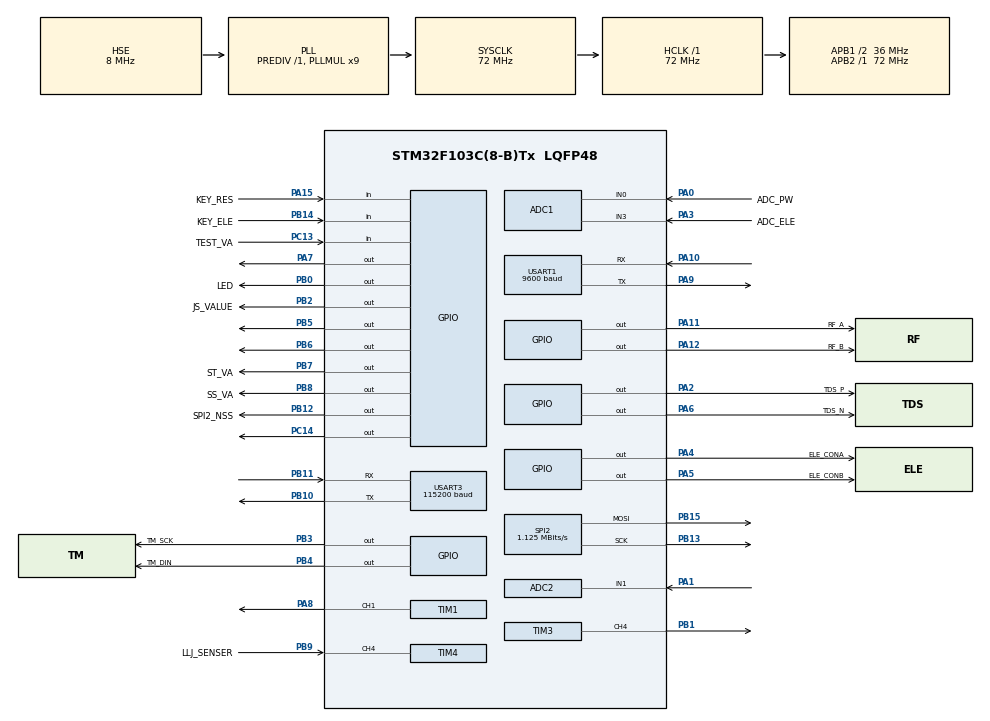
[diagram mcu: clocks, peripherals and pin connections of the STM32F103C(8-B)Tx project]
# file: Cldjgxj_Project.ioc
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ADC1.Channel-0\#ChannelRegularConversion=ADC_CHANNEL_0
ADC1.Channel-1\#ChannelRegularConversion=ADC_CHANNEL_2
ADC1.Channel-2\#ChannelRegularConversion=ADC_CHANNEL_3
ADC1.ContinuousConvMode=ENABLE
ADC1.InjNumberOfConversion=0
ADC1.NbrOfConversion=3
ADC1.NbrOfConversionFlag=1
ADC1.Rank-0\#ChannelRegularConversion=1
ADC1.Rank-1\#ChannelRegularConversion=2
ADC1.Rank-2\#ChannelRegularConversion=3
ADC1.SamplingTime-0\#ChannelRegularConversion=ADC_SAMPLETIME_1CYCLE_5
ADC1.SamplingTime-1\#ChannelRegularConversion=ADC_SAMPLETIME_1CYCLE_5
ADC1.SamplingTime-2\#ChannelRegularConversion=ADC_SAMPLETIME_1CYCLE_5
ADC1.master=1
ADC2.Channel-0\#ChannelRegularConversion=ADC_CHANNEL_1
ADC2.NbrOfConversionFlag=1
ADC2.Rank-0\#ChannelRegularConversion=1
ADC2.SamplingTime-0\#ChannelRegularConversion=ADC_SAMPLETIME_1CYCLE_5
Dma.ADC1.4.Direction=DMA_PERIPH_TO_MEMORY
Dma.ADC1.4.Instance=DMA1_Channel1
Dma.ADC1.4.MemDataAlignment=DMA_MDATAALIGN_HALFWORD
Dma.ADC1.4.MemInc=DMA_MINC_ENABLE
Dma.ADC1.4.Mode=DMA_CIRCULAR
Dma.ADC1.4.PeriphDataAlignment=DMA_PDATAALIGN_HALFWORD
Dma.ADC1.4.PeriphInc=DMA_PINC_DISABLE
Dma.ADC1.4.Priority=DMA_PRIORITY_HIGH
Dma.Request0=USART1_RX
Dma.Request1=USART1_TX
Dma.Request2=USART3_RX
Dma.Request3=USART3_TX
Dma.Request4=ADC1
Dma.USART1_RX.0.Direction=DMA_PERIPH_TO_MEMORY
Dma.USART1_RX.0.Instance=DMA1_Channel5
Dma.USART1_RX.0.MemDataAlignment=DMA_MDATAALIGN_BYTE
Dma.USART1_RX.0.MemInc=DMA_MINC_ENABLE
Dma.USART1_RX.0.Mode=DMA_CIRCULAR
Dma.USART1_RX.0.PeriphDataAlignment=DMA_PDATAALIGN_BYTE
Dma.USART1_RX.0.PeriphInc=DMA_PINC_DISABLE
Dma.USART1_RX.0.Priority=DMA_PRIORITY_HIGH
Dma.USART1_TX.1.Direction=DMA_MEMORY_TO_PERIPH
Dma.USART1_TX.1.Instance=DMA1_Channel4
Dma.USART1_TX.1.MemDataAlignment=DMA_MDATAALIGN_BYTE
Dma.USART1_TX.1.MemInc=DMA_MINC_ENABLE
Dma.USART1_TX.1.Mode=DMA_NORMAL
Dma.USART1_TX.1.PeriphDataAlignment=DMA_PDATAALIGN_BYTE
Dma.USART1_TX.1.PeriphInc=DMA_PINC_DISABLE
Dma.USART1_TX.1.Priority=DMA_PRIORITY_HIGH
Dma.USART3_RX.2.Direction=DMA_PERIPH_TO_MEMORY
Dma.USART3_RX.2.Instance=DMA1_Channel3
Dma.USART3_RX.2.MemDataAlignment=DMA_MDATAALIGN_BYTE
Dma.USART3_RX.2.MemInc=DMA_MINC_ENABLE
Dma.USART3_RX.2.Mode=DMA_NORMAL
Dma.USART3_RX.2.PeriphDataAlignment=DMA_PDATAALIGN_BYTE
Dma.USART3_RX.2.PeriphInc=DMA_PINC_DISABLE
Dma.USART3_RX.2.Priority=DMA_PRIORITY_LOW
Dma.USART3_TX.3.Direction=DMA_MEMORY_TO_PERIPH
Dma.USART3_TX.3.Instance=DMA1_Channel2
Dma.USART3_TX.3.MemDataAlignment=DMA_MDATAALIGN_BYTE
Dma.USART3_TX.3.MemInc=DMA_MINC_ENABLE
Dma.USART3_TX.3.Mode=DMA_NORMAL
Dma.USART3_TX.3.PeriphDataAlignment=DMA_PDATAALIGN_BYTE
Dma.USART3_TX.3.PeriphInc=DMA_PINC_DISABLE
Dma.USART3_TX.3.Priority=DMA_PRIORITY_LOW
Mcu.Family=STM32F1
Mcu.Name=STM32F103C(8-B)Tx
Mcu.Package=LQFP48
NVIC.ADC1_2_IRQn=true\:0\:0\:false\:false\:true\:true\:true
NVIC.DMA1_Channel1_IRQn=true\:0\:0\:false\:false\:true\:false\:true
NVIC.DMA1_Channel2_IRQn=true\:0\:0\:false\:false\:true\:false\:true
NVIC.DMA1_Channel3_IRQn=true\:0\:0\:false\:false\:true\:false\:true
NVIC.DMA1_Channel4_IRQn=true\:0\:0\:false\:false\:true\:false\:true
NVIC.DMA1_Channel5_IRQn=true\:0\:0\:false\:false\:true\:false\:true
NVIC.PriorityGroup=NVIC_PRIORITYGROUP_4
NVIC.TIM4_IRQn=true\:0\:0\:false\:false\:true\:true\:true
NVIC.USART1_IRQn=true\:0\:0\:false\:false\:true\:true\:true
NVIC.USART3_IRQn=true\:0\:0\:false\:false\:true\:true\:true
PA0-WKUP.GPIO_Label=ADC_PW
PA0-WKUP.Signal=ADCx_IN0
PA1.Signal=ADCx_IN1
PA10.Mode=Asynchronous
PA10.Signal=USART1_RX
PA11.GPIO_Label=RF_A
PA11.GPIO_ModeDefaultOutputPP=GPIO_MODE_OUTPUT_OD
PA11.GPIO_Speed=GPIO_SPEED_FREQ_HIGH
PA11.Signal=GPIO_Output
PA12.GPIO_Label=RF_B
PA12.GPIO_ModeDefaultOutputPP=GPIO_MODE_OUTPUT_OD
PA12.GPIO_Speed=GPIO_SPEED_FREQ_HIGH
PA12.Signal=GPIO_Output
PA13.Mode=Serial_Wire
PA13.Signal=SYS_JTMS-SWDIO
PA14.Mode=Serial_Wire
PA14.Signal=SYS_JTCK-SWCLK
PA15.GPIO_Label=KEY_RES
PA15.GPIO_PuPd=GPIO_PULLUP
PA15.Signal=GPIO_Input
PA2.GPIO_Label=TDS_P
PA2.Signal=GPIO_Output
PA3.GPIO_Label=ADC_ELE
PA3.Signal=ADCx_IN3
PA4.GPIO_Label=ELE_CONA
PA4.Signal=GPIO_Output
PA5.GPIO_Label=ELE_CONB
PA5.Signal=GPIO_Output
PA6.GPIO_Label=TDS_N
PA6.Signal=GPIO_Output
PA7.Signal=GPIO_Output
PA8.Signal=S_TIM1_CH1
PA9.Mode=Asynchronous
PA9.Signal=USART1_TX
PB0.GPIO_Label=LED
PB0.Signal=GPIO_Output
PB1.Signal=S_TIM3_CH4
PB10.Mode=Asynchronous
PB10.Signal=USART3_TX
PB11.Mode=Asynchronous
PB11.Signal=USART3_RX
PB12.GPIO_Label=SPI2_NSS
PB12.PinState=GPIO_PIN_SET
PB12.Signal=SharedStack_PB12
PB12.Stacked=true
PB13.Mode=TX_Only_Simplex_Unidirect_Master
PB13.Signal=SPI2_SCK
PB14.GPIO_Label=KEY_ELE
PB14.Signal=GPIO_Input
PB15.Mode=TX_Only_Simplex_Unidirect_Master
PB15.Signal=SPI2_MOSI
PB2.GPIO_Label=JS_VALUE
PB2.GPIO_Speed=GPIO_SPEED_FREQ_MEDIUM
PB2.Signal=GPIO_Output
PB3.GPIO_Label=TM_SCK
PB3.Signal=GPIO_Output
PB4.GPIO_Label=TM_DIN
PB4.Signal=GPIO_Output
PB5.GPIO_Speed=GPIO_SPEED_FREQ_HIGH
PB5.Signal=GPIO_Output
PB6.GPIO_Speed=GPIO_SPEED_FREQ_HIGH
PB6.Signal=GPIO_Output
PB7.GPIO_Label=ST_VA
PB7.GPIO_PuPd=GPIO_NOPULL
PB7.GPIO_Speed=GPIO_SPEED_FREQ_MEDIUM
PB7.Signal=GPIO_Output
PB8.GPIO_Label=SS_VA
PB8.GPIO_Speed=GPIO_SPEED_FREQ_MEDIUM
PB8.Signal=GPIO_Output
PB9.GPIO_Label=LLJ_SENSER
PB9.GPIO_PuPd=GPIO_PULLUP
PB9.Signal=S_TIM4_CH4
PC13-TAMPER-RTC.GPIO_Label=TEST_VA
PC13-TAMPER-RTC.Signal=GPIO_Input
PC14-OSC32_IN.PinState=GPIO_PIN_RESET
PC14-OSC32_IN.Signal=GPIO_Output
PC15-OSC32_OUT.Signal=RCC_OSC32_OUT
PD0-OSC_IN.Mode=HSE-External-Oscillator
PD0-OSC_IN.Signal=RCC_OSC_IN
PD1-OSC_OUT.Mode=HSE-External-Oscillator
PD1-OSC_OUT.Signal=RCC_OSC_OUT
ProjectManager.HeapSize=0x200
ProjectManager.StackSize=0x400
ProjectManager.TargetToolchain=MDK-ARM V5
RCC.ADCPresc=RCC_ADCPCLK2_DIV6
RCC.AHBFreq_Value=72000000
RCC.APB1CLKDivider=RCC_HCLK_DIV2
RCC.APB1Freq_Value=36000000
RCC.APB1TimFreq_Value=72000000
RCC.APB2Freq_Value=72000000
RCC.APB2TimFreq_Value=72000000
RCC.EnbaleCSS=true
RCC.HCLKFreq_Value=72000000
RCC.PLLMUL=RCC_PLL_MUL9
RCC.PLLSourceVirtual=RCC_PLLSOURCE_HSE
RCC.SYSCLKFreq_VALUE=72000000
RCC.SYSCLKSource=RCC_SYSCLKSOURCE_PLLCLK
RCC.USBFreq_Value=72000000
SH.ADCx_IN0.0=ADC1_IN0,IN0
SH.ADCx_IN1.0=ADC2_IN1,IN1
SH.ADCx_IN3.0=ADC1_IN3,IN3
SH.S_TIM1_CH1.0=TIM1_CH1,PWM Generation1 CH1
SH.S_TIM3_CH4.0=TIM3_CH4,PWM Generation4 CH4
SH.S_TIM4_CH4.0=TIM4_CH4,Input_Capture4_from_TI4
SH.SharedStack_PB12.0=SPI2_NSS
SH.SharedStack_PB12.1=GPIO_Output
SPI2.BaudRatePrescaler=SPI_BAUDRATEPRESCALER_32
SPI2.CRCCalculation=SPI_CRCCALCULATION_DISABLE
SPI2.CalculateBaudRate=1.125 MBits/s
SPI2.Direction=SPI_DIRECTION_2LINES
SPI2.Mode=SPI_MODE_MASTER
SPI2.VirtualType=VM_MASTER
TIM1.AutoReloadPreload=TIM_AUTORELOAD_PRELOAD_ENABLE
TIM1.Channel-PWM\ Generation1\ CH1=TIM_CHANNEL_1
TIM1.OCPolarity_1=TIM_OCPOLARITY_HIGH
TIM1.Period=400-1
TIM1.Prescaler=72-1
TIM1.Pulse-PWM\ Generation1\ CH1=350
TIM3.Channel-PWM\ Generation4\ CH4=TIM_CHANNEL_4
TIM3.OCPolarity_4=TIM_OCPOLARITY_LOW
TIM3.Period=20
TIM3.Prescaler=719
TIM4.Channel-Input_Capture4_from_TI4=TIM_CHANNEL_4
TIM4.ICFilter_CH4=8
TIM4.ICPolarity_CH4=TIM_INPUTCHANNELPOLARITY_FALLING
TIM4.Period=0xFFFF
TIM4.Prescaler=719
USART1.BaudRate=9600
USART1.VirtualMode=VM_ASYNC
USART3.BaudRate=115200
USART3.VirtualMode=VM_ASYNC
VP_IWDG_VS_IWDG.Mode=IWDG_Activate
board=custom

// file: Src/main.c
/* USER CODE BEGIN Header */
/**
  ******************************************************************************
  * @file           : main.c
  * @brief          : Main program body
  ******************************************************************************
  * @attention
  *
  * <h2><center>&copy; Copyright (c) 2020 STMicroelectronics.
  * All rights reserved.</center></h2>
  *
  * This software component is licensed by ST under BSD 3-Clause license,
  * the "License"; You may not use this file except in compliance with the
  * License. You may obtain a copy of the License at:
  *                        opensource.org/licenses/BSD-3-Clause
  *
  ******************************************************************************
  */
/* USER CODE END Header */
#include "main.h"
#include "adc.h"
#include "dma.h"
#include "iwdg.h"
#include "spi.h"
#include "tim.h"
#include "usart.h"
#include "gpio.h"

/* USER CODE BEGIN Includes */
#include "bsp_led.h"
#include "system.h"
#include "filter.h"
#include "pid.h"
#include "feeprom.h"
/* USER CODE END Includes */

void SystemClock_Config(void);

int main(void)
{

  /* MCU Configuration--------------------------------------------------------*/

  /* Reset of all peripherals, Initializes the Flash interface and the Systick. */
  HAL_Init();

  /* Configure the system clock */
  SystemClock_Config();

  /* Initialize all configured peripherals */
  MX_GPIO_Init();
  MX_DMA_Init();
  MX_ADC1_Init();
  MX_SPI2_Init();
  MX_USART1_UART_Init();
  MX_USART3_UART_Init();
  MX_TIM4_Init();
  MX_ADC2_Init();
  MX_TIM3_Init();
  MX_TIM1_Init();
  MX_IWDG_Init();
  /* USER CODE BEGIN 2 */
	Refresh_LED_Display();
	HAL_TIM_IC_Start_IT(&htim4,TIM_CHANNEL_4);
	HAL_ADC_Start_DMA(&hadc1, (uint32_t*)&ADC_Value,ADC_CHANNEL*ADC_FITER);
	HAL_FLASH_Unlock();											// Flash 解锁
  EE_Init();															// 初始化虚拟EEPROM
	Read_System_Info();											// 读取设备信息
	HAL_FLASH_Lock();												// Flash 锁定
	//HAL_TIM_PWM_Start(&htim1, TIM_CHANNEL_1); 		// 打开PWM
  /* USER CODE END 2 */

  /* Infinite loop */
  /* USER CODE BEGIN WHILE */
  while (1)
  {
		// 运行程序
		Run_Work_Mode();							// 主机运行模式
    /* USER CODE END WHILE */

    /* USER CODE BEGIN 3 */
		if(MS_Flage==1)								// 该参数每1ms执行一次
		{
			MS_Flage=0;									// 清除标志位
			Button_Value_Read();				// 读取按键
			User_Work_Set();						// 用户设置模式
			Refresh_LED_Display();			// 刷新下LED屏幕
			ADC_Read_System_Value();		// 读取ADC数据
			Cur_PID_Run();							// PID运行程序
			HAL_IWDG_Refresh(&hiwdg);		// 喂狗
		}
		// 发送工作参数
		if(Second_flage==1)						// 该参数每秒执行一次
		{
			Second_flage=0;							// 清除标志位
			Test_Water_Flow();					// 统计水流速
			Send_System_Info();					// 发送系统信息
			Back_Wash_Oper();						// 反洗操作
		}
		// 每100ms读取一次TDS数据和滤芯数据
		if(Read_Filter_Flage==1)			// 发送读取滤芯
		{
			Read_Filter_Flage=0;				// 复位
			System_Read_Filter();				// 读取滤芯信息
			Test_TDS_Value();						// 检测TDS
		}
		// 读取串口数据
		System_Read_Fax();						// 读取串口数据
  }
  /* USER CODE END 3 */
}

void SystemClock_Config(void)
{
  RCC_OscInitTypeDef RCC_OscInitStruct = {0};
  RCC_ClkInitTypeDef RCC_ClkInitStruct = {0};
  RCC_PeriphCLKInitTypeDef PeriphClkInit = {0};

  /** Initializes the RCC Oscillators according to the specified parameters
  * in the RCC_OscInitTypeDef structure.
  */
  RCC_OscInitStruct.OscillatorType = RCC_OSCILLATORTYPE_LSI|RCC_OSCILLATORTYPE_HSE;
  RCC_OscInitStruct.HSEState = RCC_HSE_ON;
  RCC_OscInitStruct.HSEPredivValue = RCC_HSE_PREDIV_DIV1;
  RCC_OscInitStruct.HSIState = RCC_HSI_ON;
  RCC_OscInitStruct.LSIState = RCC_LSI_ON;
  RCC_OscInitStruct.PLL.PLLState = RCC_PLL_ON;
  RCC_OscInitStruct.PLL.PLLSource = RCC_PLLSOURCE_HSE;
  RCC_OscInitStruct.PLL.PLLMUL = RCC_PLL_MUL9;
  if (HAL_RCC_OscConfig(&RCC_OscInitStruct) != HAL_OK)
  {
    Error_Handler();
  }
  /** Initializes the CPU, AHB and APB buses clocks
  */
  RCC_ClkInitStruct.ClockType = RCC_CLOCKTYPE_HCLK|RCC_CLOCKTYPE_SYSCLK
                              |RCC_CLOCKTYPE_PCLK1|RCC_CLOCKTYPE_PCLK2;
  RCC_ClkInitStruct.SYSCLKSource = RCC_SYSCLKSOURCE_PLLCLK;
  RCC_ClkInitStruct.AHBCLKDivider = RCC_SYSCLK_DIV1;
  RCC_ClkInitStruct.APB1CLKDivider = RCC_HCLK_DIV2;
  RCC_ClkInitStruct.APB2CLKDivider = RCC_HCLK_DIV1;

  if (HAL_RCC_ClockConfig(&RCC_ClkInitStruct, FLASH_LATENCY_2) != HAL_OK)
  {
    Error_Handler();
  }
  PeriphClkInit.PeriphClockSelection = RCC_PERIPHCLK_ADC;
  PeriphClkInit.AdcClockSelection = RCC_ADCPCLK2_DIV6;
  if (HAL_RCCEx_PeriphCLKConfig(&PeriphClkInit) != HAL_OK)
  {
    Error_Handler();
  }
  /** Enables the Clock Security System
  */
  HAL_RCC_EnableCSS();
}

void Error_Handler(void)
{
}

/************************ (C) COPYRIGHT STMicroelectronics *****END OF FILE****/
